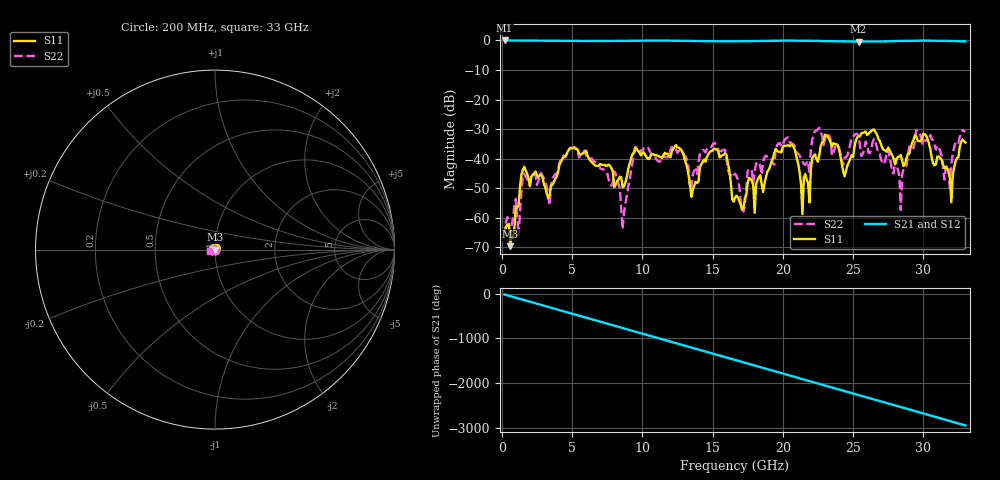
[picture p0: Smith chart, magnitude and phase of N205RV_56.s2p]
# GHZ S RI R 50
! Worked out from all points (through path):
!   329 points, 200 MHz to 33 GHz, reference 50 ohm
!   highest |S21| = -0.01 dB at 200 MHz (marker M1); lowest = -0.4 dB at 25.4 GHz (marker M2)
!   group delay of S21, straight-line fit = 248 ps
!   lowest |S11| = -69.6 dB at 600 MHz (marker M3), VSWR 1.00, Z = 50 + j0.0227 ohm
!   |S11| at or under -10 dB: start of sweep to end of sweep
!   |S22| runs from -66.4 to -29.6 dB; largest |S21 - S12| = 0.0019
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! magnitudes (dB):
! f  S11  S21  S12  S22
! 200 MHz  -65.3  0.0  0.0  -66.2
! 600 MHz  -69.6  0.0  0.0  -66.4
! 1.6 GHz  -42.7  0.0  0.0  -45.0
! 3.4 GHz  -52.5  -0.1  -0.1  -55.8
! 5.7 GHz  -38.3  -0.2  -0.2  -38.0
! 8.1 GHz  -48.8  -0.1  -0.1  -45.0
! 8.6 GHz  -49.6  -0.1  -0.1  -63.7
! 9.5 GHz  -36.3  -0.1  -0.1  -36.3
! 11.2 GHz  -39.2  -0.1  -0.1  -41.0
! 13.5 GHz  -52.9  -0.2  -0.2  -49.8
! 15.9 GHz  -38.2  -0.3  -0.3  -37.0
! 16.6 GHz  -53.2  -0.3  -0.3  -45.1
! 17.2 GHz  -56.8  -0.3  -0.3  -57.8
! 20.6 GHz  -35.2  -0.1  -0.1  -34.7
! 21.4 GHz  -58.7  -0.1  -0.1  -40.8
! 22.1 GHz  -39.8  -0.1  -0.1  -33.4
! 25.4 GHz  -32.5  -0.4  -0.4  -32.4
! 27.6 GHz  -37.1  -0.3  -0.3  -39.2
! 28.4 GHz  -38.7  -0.1  -0.1  -57.4
! 29.5 GHz  -32.4  -0.1  -0.1  -30.4
! 32 GHz  -54.7  -0.2  -0.1  -42.0
! 33 GHz  -34.5  -0.3  -0.3  -30.8
